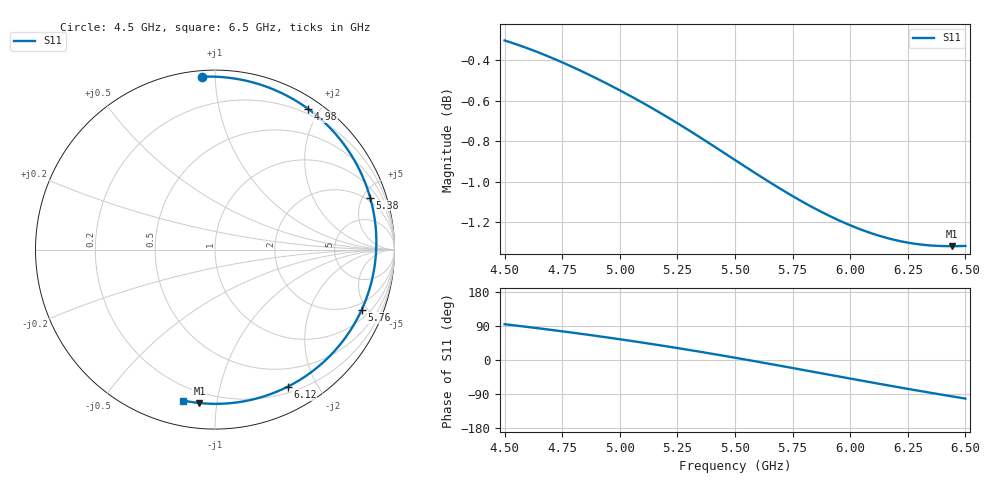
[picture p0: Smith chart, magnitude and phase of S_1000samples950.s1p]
! TOUCHSTONE file generated by CST MICROWAVE STUDIO
! Date and time: Sat Oct 29 21:47:33 2022
! Project name: L.cst
! Parameters = {Di=1.27; Epsilon_r=1.56; InnerDiameter=1.27; Length=2; Lf=10; Lg=60; OuterConductorThickness=0.2921; OuterDiameter=3.6; Wf=3; Wp=41.2; de=1.5; df=6.8; g=0.8; gx=4.93643; gy=3.12879; h=2.34; hf=1.524; px=9.94619; py=10.5133; w=9.7; wx=5.00976; wy=7.38455}
! Header version: 2018
! Port assignment regex: !\s*Touchstone port\s*([0-9]+)\s*=\s*(CST MWS port|CST DS port)\s*([0-9]+|Zmin|Zmax)\s*\(\"(.*)\"\)(\s*mode\s*([0-9]+))?.*
! Touchstone port assignment:
! Touchstone port 1 = CST MWS port 1 ("")
# GHz S DB R 50
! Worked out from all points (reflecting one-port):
!   101 points, 4.5 GHz to 6.5 GHz, reference 50 ohm
!   lowest |S11| = -1.3 dB at 6.44 GHz (marker M1), VSWR 13.21, Z = 6.85 - j44.7 ohm
!   phase of S11 starts at 94 deg and turns -196 deg over the sweep
!   S11 on the Smith chart (normalised r, x): 4.5 GHz: 0.03, +0.92; 4.98 GHz: 0.14, +1.85; 5.38 GHz: 1.65, +5.67; 5.76 GHz: 1.51, -4.60; 6.12 GHz: 0.27, -1.63; 6.5 GHz: 0.13, -0.80
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4.5  -0.30 94.5
4.64  -0.36 84.2
4.76  -0.41 74.9
4.88  -0.48 65.1
4.98  -0.54 56.5
5  -0.55 54.8
5.12  -0.62 43.9
5.18  -0.66 38.3
5.26  -0.72 30.5
5.32  -0.76 24.6
5.38  -0.80 18.5
5.44  -0.85 12.3
5.5  -0.89 6.0
5.56  -0.94 -0.4
5.62  -0.98 -6.9
5.68  -1.02 -13.5
5.76  -1.08 -22.3
5.82  -1.12 -28.9
5.88  -1.15 -35.6
5.94  -1.18 -42.3
6  -1.21 -49.0
6.06  -1.24 -55.6
6.12  -1.26 -62.1
6.18  -1.28 -68.6
6.26  -1.30 -77.2
6.34  -1.31 -85.5
6.44  -1.32 -95.8
6.5  -1.32 -101.8
